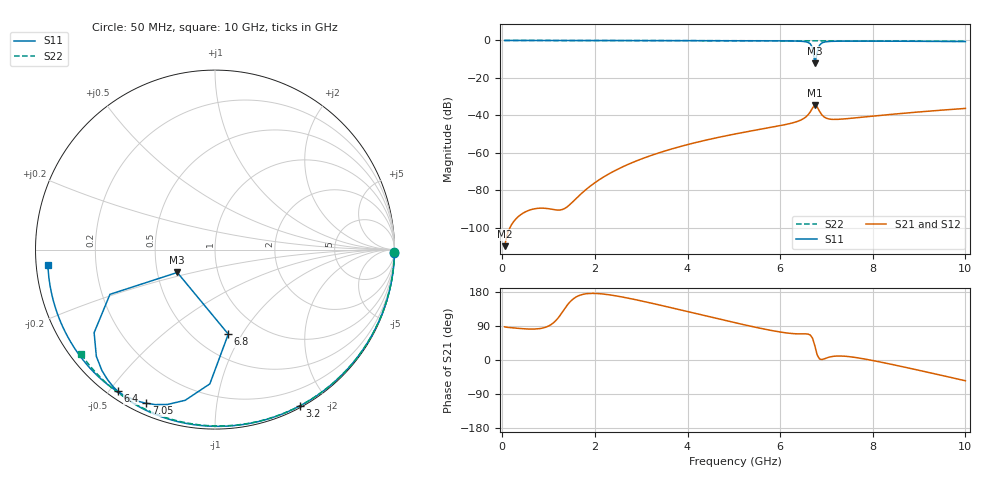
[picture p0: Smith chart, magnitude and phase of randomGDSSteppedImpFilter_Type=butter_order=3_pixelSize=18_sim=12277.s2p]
! freq	dB(S11)	phase(S11)	dB(S12)	phase(S12)
!  dB(S21)	phase(S21)	dB(S22)	phase(S22)
!S-par simulation data
#  GHz  S  DB  R 50
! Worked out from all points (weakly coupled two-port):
!   200 points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, 50 MHz to 10 GHz, reference 50 ohm
!   highest |S21| = -34.50 dB at 6.75 GHz (marker M1); lowest = -110.0 dB at 50 MHz (marker M2)
!   lowest |S11| = -12.2 dB at 6.75 GHz (marker M3), VSWR 1.65, Z = 31.7 - j8.61 ohm
!   |S11| at or under -10 dB: 6.736732 GHz to 6.769038 GHz (32.31 MHz wide, 0.478 % of centre)
!   |S22| runs from -0.5 to 0.0 dB; largest |S21 - S12| = 0
!   S11 on the Smith chart (normalised r, x): 50 MHz: open; 3.2 GHz: 0.02, -1.68; 6.4 GHz: 0.03, -0.53; 6.8 GHz: 0.72, -0.87; 7.05 GHz: 0.05, -0.65; 10 GHz: 0.03, -0.04
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0.05  -0.00 -1.0  -109.97 87.5  -109.97 87.5  -0.00 -0.8
0.85  -0.02 -16.9  -89.64 83.7  -89.64 83.7  -0.02 -13.9
1.75  -0.04 -34.3  -80.92 173.5  -80.92 173.5  -0.04 -28.3
2.45  -0.06 -47.7  -69.37 169.3  -69.37 169.3  -0.05 -39.3
3.2  -0.08 -61.6  -61.59 150.6  -61.59 150.6  -0.07 -50.9
3.4  -0.09 -65.3  -59.94 145.0  -59.94 145.0  -0.07 -53.9
4.2  -0.11 -79.7  -54.44 122.0  -54.44 122.0  -0.09 -65.7
5.05  -0.15 -94.9  -49.89 97.7  -49.89 97.7  -0.12 -77.9
5.9  -0.21 -110.9  -46.01 75.9  -46.01 75.9  -0.15 -89.6
6.4  -0.38 -124.5  -43.03 68.9  -43.03 68.9  -0.18 -96.3
6.5  -0.53 -129.5  -41.85 69.0  -41.85 69.0  -0.18 -97.6
6.6  -1.02 -138.0  -39.84 68.5  -39.84 68.5  -0.19 -99.0
6.65  -1.75 -145.5  -38.22 65.9  -38.22 65.9  -0.19 -99.6
6.7  -3.93 -156.9  -36.11 57.5  -36.11 57.5  -0.19 -100.3
6.75  -12.19 -148.7  -34.50 37.2  -34.50 37.2  -0.20 -100.9
6.8  -6.43 -81.1  -35.53 13.3  -35.53 13.3  -0.20 -101.6
6.85  -2.51 -92.2  -37.90 2.6  -37.90 2.6  -0.20 -102.3
6.9  -1.35 -101.2  -39.76 1.2  -39.76 1.2  -0.20 -102.9
7.05  -0.55 -114.1  -41.95 7.3  -41.95 7.3  -0.21 -104.9
7.5  -0.35 -128.3  -41.68 8.7  -41.68 8.7  -0.24 -110.7
8.35  -0.39 -144.7  -39.63 -10.0  -39.63 -10.0  -0.31 -121.5
10  -0.59 -174.9  -36.33 -54.8  -36.33 -54.8  -0.48 -142.2
